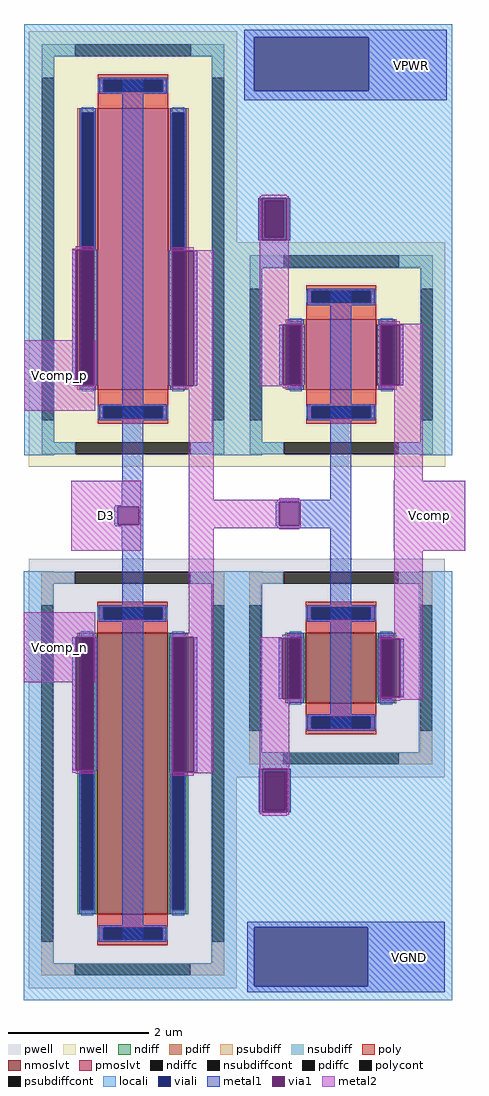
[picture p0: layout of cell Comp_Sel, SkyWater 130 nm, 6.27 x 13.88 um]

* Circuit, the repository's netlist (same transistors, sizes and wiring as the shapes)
** sch_path: /home/ttuser/Desktop/Comp_Sel.sch
.subckt Comp_Sel VPWR Vcomp_p D3 Vcomp Vcomp_n VGND
*.PININFO Vcomp:O Vcomp_n:I Vcomp_p:I D3:I VGND:I VPWR:I
XM3 Vcomp net1 VPWR VPWR sky130_fd_pr__pfet_01v8_lvt L=1 W=1 nf=1 m=1
XM4 Vcomp net1 VGND VGND sky130_fd_pr__nfet_01v8_lvt L=1 W=1 nf=1 m=1
XM2 net1 D3 Vcomp_n VGND sky130_fd_pr__nfet_01v8_lvt L=1 W=4 nf=1 m=1
XM1 Vcomp_p D3 net1 VPWR sky130_fd_pr__pfet_01v8_lvt L=1 W=4 nf=1 m=1
.ends
.end

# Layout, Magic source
magic
tech sky130A
magscale 1 2
<< locali >>
rect 1013 468 2229 506
rect 1013 413 1667 468
rect 1013 -720 1098 413
rect 1546 316 1667 413
rect 1992 316 2229 468
rect 1546 4 2229 316
rect 1546 -100 1697 4
rect 1751 -100 2229 4
rect 1546 -189 2229 -100
rect 1546 -720 1690 -189
rect 2138 -720 2229 -189
rect 1012 -2164 1097 -1050
rect 1545 -1564 1689 -1050
rect 2135 -1564 2229 -1050
rect 1545 -1620 2229 -1564
rect 1545 -1729 1696 -1620
rect 1755 -1729 2229 -1620
rect 1545 -2062 2229 -1729
rect 1545 -2164 1667 -2062
rect 1012 -2230 1667 -2164
rect 1990 -2230 2229 -2062
rect 1012 -2269 2229 -2230
<< viali >>
rect 1667 316 1992 468
rect 1697 -100 1751 4
rect 1696 -1729 1755 -1620
rect 1667 -2230 1990 -2062
<< metal1 >>
rect 1638 468 2214 489
rect 1149 -521 1159 -136
rect 1211 -521 1221 -136
rect 1291 -796 1351 347
rect 1638 316 1667 468
rect 1992 316 2214 468
rect 1638 289 2214 316
rect 1678 -109 1688 11
rect 1759 -109 1769 11
rect 1424 -523 1434 -139
rect 1494 -523 1504 -139
rect 1738 -520 1748 -349
rect 1800 -520 1810 -349
rect 1290 -862 1351 -796
rect 1883 -847 1943 -253
rect 2017 -521 2027 -349
rect 2081 -521 2091 -349
rect 1732 -852 1943 -847
rect 1272 -866 1351 -862
rect 1268 -918 1278 -866
rect 1340 -918 1351 -866
rect 1272 -922 1351 -918
rect 1728 -921 1738 -852
rect 1794 -921 1943 -852
rect 1290 -988 1351 -922
rect 1732 -927 1943 -921
rect 1149 -1616 1159 -1237
rect 1211 -1616 1221 -1237
rect 1291 -2099 1351 -988
rect 1425 -1622 1435 -1238
rect 1495 -1622 1505 -1238
rect 1737 -1412 1747 -1240
rect 1799 -1412 1809 -1240
rect 1883 -1499 1943 -927
rect 2018 -1408 2028 -1242
rect 2082 -1408 2092 -1242
rect 1679 -1735 1689 -1612
rect 1761 -1735 1771 -1612
rect 1647 -2062 2208 -2047
rect 1647 -2230 1667 -2062
rect 1990 -2230 2208 -2062
rect 1647 -2247 2208 -2230
<< via1 >>
rect 1159 -521 1211 -136
rect 1688 4 1759 11
rect 1688 -100 1697 4
rect 1697 -100 1751 4
rect 1751 -100 1759 4
rect 1688 -109 1759 -100
rect 1434 -523 1494 -139
rect 1748 -520 1800 -349
rect 2027 -521 2081 -349
rect 1278 -918 1340 -866
rect 1738 -921 1794 -852
rect 1159 -1616 1211 -1237
rect 1435 -1622 1495 -1238
rect 1747 -1412 1799 -1240
rect 2028 -1408 2082 -1242
rect 1689 -1620 1761 -1612
rect 1689 -1729 1696 -1620
rect 1696 -1729 1755 -1620
rect 1755 -1729 1761 -1620
rect 1689 -1735 1761 -1729
<< metal2 >>
rect 1688 16 1759 21
rect 1682 11 1765 16
rect 1682 -109 1688 11
rect 1759 -109 1765 11
rect 1159 -133 1211 -126
rect 1149 -136 1211 -133
rect 1149 -393 1159 -136
rect 1013 -521 1159 -393
rect 1434 -137 1494 -129
rect 1432 -139 1551 -137
rect 1211 -521 1215 -393
rect 1013 -593 1215 -521
rect 1432 -523 1434 -139
rect 1494 -523 1551 -139
rect 1432 -525 1551 -523
rect 1682 -339 1765 -109
rect 1682 -346 1800 -339
rect 2027 -346 2081 -339
rect 1682 -349 1803 -346
rect 1682 -520 1748 -349
rect 1800 -520 1803 -349
rect 1682 -524 1803 -520
rect 2024 -349 2146 -346
rect 2024 -521 2027 -349
rect 2081 -521 2146 -349
rect 2024 -524 2146 -521
rect 1434 -533 1551 -525
rect 1748 -530 1800 -524
rect 2027 -531 2146 -524
rect 1146 -866 1346 -792
rect 1146 -918 1278 -866
rect 1340 -918 1346 -866
rect 1146 -992 1346 -918
rect 1480 -847 1551 -533
rect 2065 -792 2146 -531
rect 1738 -847 1794 -842
rect 1480 -852 1799 -847
rect 1480 -921 1738 -852
rect 1794 -921 1799 -852
rect 1480 -927 1799 -921
rect 1012 -1237 1214 -1166
rect 1480 -1228 1551 -927
rect 1738 -931 1794 -927
rect 2064 -992 2266 -792
rect 1435 -1236 1551 -1228
rect 1012 -1366 1159 -1237
rect 1149 -1616 1159 -1366
rect 1211 -1366 1214 -1237
rect 1432 -1238 1551 -1236
rect 1747 -1237 1799 -1230
rect 2065 -1232 2146 -992
rect 2028 -1236 2146 -1232
rect 1149 -1623 1211 -1616
rect 1159 -1626 1211 -1623
rect 1432 -1622 1435 -1238
rect 1495 -1622 1551 -1238
rect 1432 -1625 1551 -1622
rect 1683 -1240 1802 -1237
rect 1683 -1412 1747 -1240
rect 1799 -1412 1802 -1240
rect 1683 -1415 1802 -1412
rect 2024 -1242 2146 -1236
rect 2024 -1408 2028 -1242
rect 2082 -1408 2146 -1242
rect 2024 -1415 2146 -1408
rect 1683 -1422 1799 -1415
rect 2028 -1418 2082 -1415
rect 1683 -1612 1766 -1422
rect 1435 -1632 1495 -1625
rect 1683 -1735 1689 -1612
rect 1761 -1735 1766 -1612
rect 1683 -1741 1766 -1735
rect 1689 -1745 1761 -1741
use sky130_fd_pr__pfet_01v8_lvt_3VA8VM  XM1
transform 1 0 1322 0 1 -134
box -296 -619 296 619
use sky130_fd_pr__nfet_01v8_lvt_AHMAL2  XM2
transform -1 0 1321 0 1 -1625
box -296 -610 296 610
use sky130_fd_pr__pfet_01v8_lvt_3VR9VM  XM3
transform 1 0 1914 0 1 -434
box -296 -319 296 319
use sky130_fd_pr__nfet_01v8_lvt_69TQ3K  XM4
transform 1 0 1913 0 1 -1325
box -296 -310 296 310
<< labels >>
flabel metal1 2014 289 2214 489 0 FreeSans 256 0 0 0 VPWR
port 0 nsew
flabel metal1 2008 -2247 2208 -2047 0 FreeSans 256 0 0 0 VGND
port 5 nsew
flabel metal2 2064 -992 2264 -792 0 FreeSans 256 0 0 0 Vcomp
port 3 nsew
flabel metal2 1146 -992 1346 -792 0 FreeSans 256 0 0 0 D3
port 2 nsew
flabel metal2 1012 -1366 1212 -1166 0 FreeSans 256 0 0 0 Vcomp_n
port 4 nsew
flabel metal2 1013 -593 1213 -393 0 FreeSans 256 0 0 0 Vcomp_p
port 1 nsew
<< end >>

# cell sky130_fd_pr__pfet_01v8_lvt_3VA8VM: kit device sky130_fd_pr__pfet_01v8_lvt, w 4.0 l 1.0 m 1 nf 1 diffcov 100 polycov 100 guard 1 glc 1 grc 1 gtc 1 gbc 1 tbcov 100 rlcov 100 topc 1 botc 1 poverlap 0 doverlap 1 lmin 0.35 wmin 0.42 compatible {sky130_fd_pr__pfet_01v8 sky130_fd_pr__pfet_01v8_lvt sky130_fd_pr__pfet_01v8_hvt sky130_fd_pr__pfet_g5v0d10v5} full_metal 1 viasrc 100 viadrn 100 viagate 100 viagb 0 viagr 0 viagl 0 viagt 0

# cell sky130_fd_pr__nfet_01v8_lvt_AHMAL2: kit device sky130_fd_pr__nfet_01v8_lvt, w 4.0 l 1.0 m 1 nf 1 diffcov 100 polycov 100 guard 1 glc 1 grc 1 gtc 1 gbc 1 tbcov 100 rlcov 100 topc 1 botc 1 poverlap 0 doverlap 1 lmin 0.15 wmin 0.42 compatible {sky130_fd_pr__nfet_01v8 sky130_fd_pr__nfet_01v8_lvt sky130_fd_bs_flash__special_sonosfet_star sky130_fd_pr__nfet_g5v0d10v5 sky130_fd_pr__nfet_05v0_nvt sky130_fd_pr__nfet_03v3_nvt} full_metal 1 viasrc 100 viadrn 100 viagate 100 viagb 0 viagr 0 viagl 0 viagt 0

# cell sky130_fd_pr__pfet_01v8_lvt_3VR9VM: kit device sky130_fd_pr__pfet_01v8_lvt, w 1.0 l 1.0 m 1 nf 1 diffcov 100 polycov 100 guard 1 glc 1 grc 1 gtc 1 gbc 1 tbcov 100 rlcov 100 topc 1 botc 1 poverlap 0 doverlap 1 lmin 0.35 wmin 0.42 compatible {sky130_fd_pr__pfet_01v8 sky130_fd_pr__pfet_01v8_lvt sky130_fd_pr__pfet_01v8_hvt sky130_fd_pr__pfet_g5v0d10v5} full_metal 1 viasrc 100 viadrn 100 viagate 100 viagb 0 viagr 0 viagl 0 viagt 0

# cell sky130_fd_pr__nfet_01v8_lvt_69TQ3K: kit device sky130_fd_pr__nfet_01v8_lvt, w 1.0 l 1.0 m 1 nf 1 diffcov 100 polycov 100 guard 1 glc 1 grc 1 gtc 1 gbc 1 tbcov 100 rlcov 100 topc 1 botc 1 poverlap 0 doverlap 1 lmin 0.15 wmin 0.42 compatible {sky130_fd_pr__nfet_01v8 sky130_fd_pr__nfet_01v8_lvt sky130_fd_bs_flash__special_sonosfet_star sky130_fd_pr__nfet_g5v0d10v5 sky130_fd_pr__nfet_05v0_nvt sky130_fd_pr__nfet_03v3_nvt} full_metal 1 viasrc 100 viadrn 100 viagate 100 viagb 0 viagr 0 viagl 0 viagt 0
